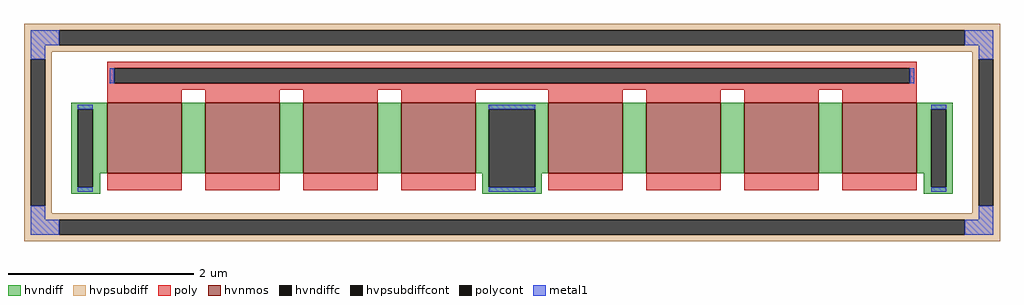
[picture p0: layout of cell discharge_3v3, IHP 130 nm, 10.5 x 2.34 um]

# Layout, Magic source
magic
tech ihp-sg13cmos5l
magscale 1 2
<< hvnmos >>
rect 377 146 537 298
rect 588 146 748 298
rect 799 146 959 298
rect 1010 146 1170 298
rect 1326 146 1486 298
rect 1537 146 1697 298
rect 1748 146 1908 298
rect 1959 146 2119 298
<< hvndiff >>
rect 300 284 377 298
rect 300 116 314 284
rect 346 146 377 284
rect 537 146 588 298
rect 748 146 799 298
rect 959 146 1010 298
rect 1170 284 1326 298
rect 1170 146 1198 284
rect 346 116 362 146
rect 300 102 362 116
rect 1184 116 1198 146
rect 1298 146 1326 284
rect 1486 146 1537 298
rect 1697 146 1748 298
rect 1908 146 1959 298
rect 2119 284 2196 298
rect 2119 146 2150 284
rect 1298 116 1312 146
rect 1184 102 1312 116
rect 2134 116 2150 146
rect 2182 116 2196 284
rect 2134 102 2196 116
<< hvndiffc >>
rect 314 116 346 284
rect 1198 116 1298 284
rect 2150 116 2182 284
<< hvpsubdiff >>
rect 198 454 2298 468
rect 198 422 274 454
rect 2222 422 2298 454
rect 198 408 2298 422
rect 198 392 258 408
rect 198 76 212 392
rect 244 76 258 392
rect 2238 392 2298 408
rect 198 60 258 76
rect 2238 76 2252 392
rect 2284 76 2298 392
rect 2238 60 2298 76
rect 198 46 2298 60
rect 198 14 274 46
rect 2222 14 2298 46
rect 198 0 2298 14
<< hvpsubdiffcont >>
rect 274 422 2222 454
rect 212 76 244 392
rect 2252 76 2284 392
rect 274 14 2222 46
<< poly >>
rect 377 372 2119 386
rect 377 340 392 372
rect 2104 340 2119 372
rect 377 326 2119 340
rect 377 298 537 326
rect 588 298 748 326
rect 799 298 959 326
rect 1010 298 1170 326
rect 1326 298 1486 326
rect 1537 298 1697 326
rect 1748 298 1908 326
rect 1959 298 2119 326
rect 377 110 537 146
rect 588 110 748 146
rect 799 110 959 146
rect 1010 110 1170 146
rect 1326 110 1486 146
rect 1537 110 1697 146
rect 1748 110 1908 146
rect 1959 110 2119 146
<< polycont >>
rect 392 340 2104 372
<< metal1 >>
rect 212 422 274 454
rect 2222 422 2284 454
rect 212 392 244 422
rect 2252 392 2284 422
rect 382 340 392 372
rect 2104 340 2114 372
rect 314 284 346 294
rect 314 106 346 116
rect 1198 284 1298 294
rect 1198 106 1298 116
rect 2150 284 2182 294
rect 2150 106 2182 116
rect 212 46 244 76
rect 2252 46 2284 76
rect 212 14 274 46
rect 2222 14 2284 46
<< properties >>
string FIXED_BBOX 0 0 2496 468
<< end >>
